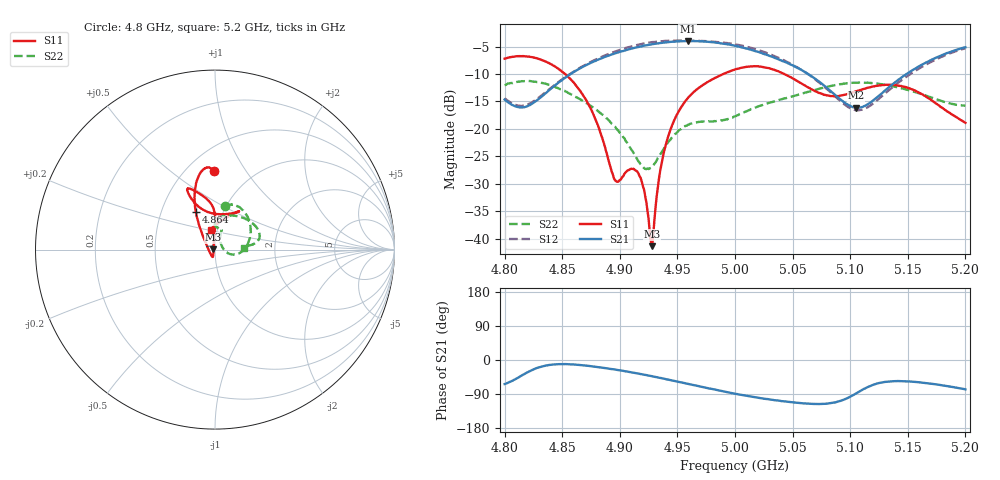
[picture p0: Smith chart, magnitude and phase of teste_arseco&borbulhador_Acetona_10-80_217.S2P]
! Network Analyzer HP8722D
! Hewlett-Packard
! Data name: Linha & Wilkinson
! Saver's name: Rodrigo Anjos
! Comments: Teste da utilização de aquisição
! continua pelo VNA HP8722D
! Time and date: 25/4/2025 17:04
!  Frequency  S11  S21  S12  S22
# HZ  S  MA R 50
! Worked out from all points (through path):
!   401 points, 4.8 GHz to 5.2 GHz, reference 50 ohm
!   highest |S21| = -3.99 dB at 4.959 GHz (marker M1); lowest = -16.2 dB at 5.105 GHz (marker M2)
!   lowest |S11| = -41.4 dB at 4.928 GHz (marker M3), VSWR 1.02, Z = 49.2 + j0.13 ohm
!   |S11| at or under -10 dB: 4.852 GHz to 4.99 GHz (137.5 MHz wide, 2.79 % of centre); 5.043 GHz to end of sweep
!   |S22| runs from -27.3 to -11.3 dB; largest |S21 - S12| = 1.2
!   S11 on the Smith chart (normalised r, x): 4.8 GHz: 0.67, +0.72; 4.864 GHz: 0.75, +0.33; 5.2 GHz: 0.93, +0.21
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4.8e9  0.436 90.9  0.1851 -63.5  0.1899 69.9  0.2499 76.9
4.82e9  0.4545 97.2  0.1613 -32.2  0.1668 98.6  0.2734 61.7
4.845e9  0.3622 107.6  0.2551 -11.2  0.2582 119.4  0.2376 34.2
4.864e9  0.2341 117.0  0.3493 -12.8  0.3522 120.9  0.1901 12.2
4.867e9  0.2109 118.9  0.3634 -13.8  0.3677 120.7  0.1826 8.8
4.88e9  0.1142 129.0  0.4226 -18.3  0.4321 118.3  0.1484 -5.0
4.896e9  0.03401 -170.3  0.4876 -25.3  0.5066 113.1  0.1045 -15.6
4.91e9  0.04332 -109.7  0.5381 -32.5  0.5622 107.0  0.06477 -12.7
4.917e9  0.03741 -106.6  0.56 -36.3  0.5876 103.5  0.04942 0.3
4.921e9  0.02803 -110.9  0.5735 -38.9  0.5991 101.4  0.04398 13.0
4.926e9  0.01148 -142.1  0.5852 -41.7  0.6109 98.3  0.0437 33.3
4.928e9  0.008549 171.1  0.5902 -42.8  0.6165 97.1  0.04517 40.8
4.934e9  0.03519 101.5  0.6029 -46.8  0.6287 93.4  0.05596 57.8
4.944e9  0.09871 91.3  0.6197 -53.2  0.6342 86.9  0.07999 68.5
4.959e9  0.1909 90.1  0.6313 -62.8  0.6372 77.3  0.1086 70.8
5e9  0.3478 109.2  0.5711 -89.2  0.5895 50.8  0.13 88.1
5.031e9  0.3533 115.2  0.4579 -104.5  0.474 33.3  0.1744 84.3
5.067e9  0.2282 105.6  0.2989 -115.7  0.2968 23.6  0.2226 57.1
5.105e9  0.2198 66.0  0.1557 -88.3  0.1482 54.5  0.2632 25.6
5.134e9  0.2522 57.9  0.2412 -56.5  0.2265 88.7  0.2478 12.3
5.169e9  0.1874 70.8  0.4175 -62.0  0.4017 84.8  0.1954 6.9
5.2e9  0.1136 101.0  0.5541 -77.5  0.5425 70.2  0.1623 3.7
